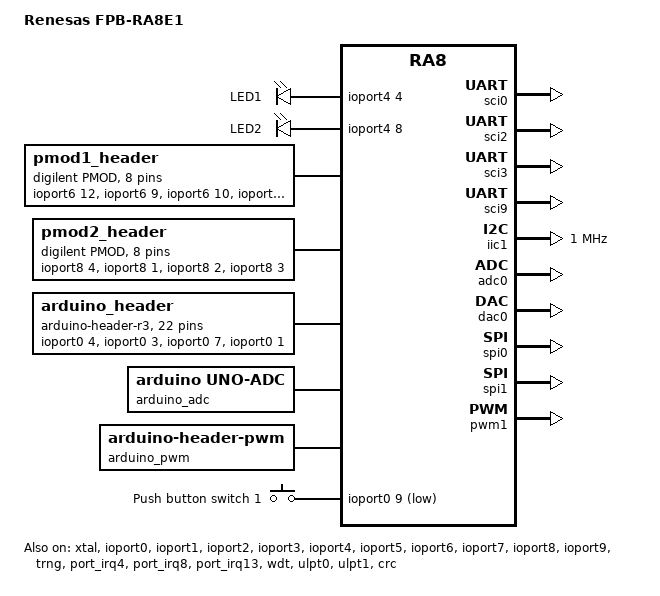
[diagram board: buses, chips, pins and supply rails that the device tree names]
/*
 * Copyright (c) 2026 Renesas Electronics Corporation
 * SPDX-License-Identifier: Apache-2.0
 */

/dts-v1/;

#include <renesas/ra/ra8/r7fa8e1afdcfb.dtsi>
#include <zephyr/dt-bindings/gpio/arduino-header-r3.h>
#include <zephyr/dt-bindings/gpio/gpio.h>
#include <zephyr/dt-bindings/flash_controller/xspi.h>
#include <zephyr/dt-bindings/adc/adc.h>
#include <zephyr/dt-bindings/input/input-event-codes.h>
#include <zephyr/dt-bindings/gpio/dvp-20pin-connector.h>
#include <zephyr/dt-bindings/pwm/pwm.h>
#include "fpb_ra8e1-pinctrl.dtsi"

/ {
	model = "Renesas FPB-RA8E1";
	compatible = "renesas,ra8e1", "renesas,ra8";

	chosen {
		zephyr,sram = &sram0;
		zephyr,flash-controller = &flash0;
		zephyr,flash = &flash0;
		zephyr,console = &uart9;
		zephyr,shell-uart = &uart9;
		zephyr,entropy = &trng;
		zephyr,crc = &crc;
	};

	leds {
		compatible = "gpio-leds";

		led1: led1 {
			gpios = <&ioport4 4 GPIO_ACTIVE_HIGH>;
			label = "LED1";
		};

		led2: led2 {
			gpios = <&ioport4 8 GPIO_ACTIVE_HIGH>;
			label = "LED2";
		};
	};

	pmod1_header: pmod-connector-1 {
		compatible = "digilent,pmod";
		#gpio-cells = <2>;
		gpio-map-mask = <0xffffffff 0xffffffc0>;
		gpio-map-pass-thru = <0 0x3f>;
		gpio-map = <0 0 &ioport6 12 0>,	/* IO1 */
			   <1 0 &ioport6 9 0>,	/* IO2 */
			   <2 0 &ioport6 10 0>,	/* IO3 */
			   <3 0 &ioport6 11 0>,	/* IO4 */
			   <4 0 &ioport0 6 0>,	/* IO5 */
			   <5 0 &ioport6 4 0>,	/* IO6 */
			   <6 0 &ioport6 5 0>,	/* IO7 */
			   <7 0 &ioport6 14 0>;	/* IO8 */
	};

	pmod2_header: pmod-connector-2 {
		compatible = "digilent,pmod";
		#gpio-cells = <2>;
		gpio-map-mask = <0xffffffff 0xffffffc0>;
		gpio-map-pass-thru = <0 0x3f>;
		gpio-map = <0 0 &ioport8 4 0>,	/* IO1 */
			   <1 0 &ioport8 1 0>,	/* IO2 */
			   <2 0 &ioport8 2 0>,	/* IO3 */
			   <3 0 &ioport8 3 0>,	/* IO4 */
			   <4 0 &ioport0 10 0>,	/* IO5 */
			   <5 0 &ioport1 6 0>,	/* IO6 */
			   <6 0 &ioport1 7 0>,	/* IO7 */
			   <7 0 &ioport8 9 0>;	/* IO8 */
	};

	arduino_header: connector {
		compatible = "arduino-header-r3";
		#gpio-cells = <2>;
		gpio-map-mask = <0xffffffff 0xffffffc0>;
		gpio-map-pass-thru = <0 0x3f>;
		gpio-map = <ARDUINO_HEADER_R3_A0 0 &ioport0 4 0>,
			   <ARDUINO_HEADER_R3_A1 0 &ioport0 3 0>,
			   <ARDUINO_HEADER_R3_A2 0 &ioport0 7 0>,
			   <ARDUINO_HEADER_R3_A3 0 &ioport0 1 0>,
			   <ARDUINO_HEADER_R3_A4 0 &ioport0 14 0>,
			   <ARDUINO_HEADER_R3_A5 0 &ioport1 15 0>,
			   <ARDUINO_HEADER_R3_D0 0 &ioport3 9 0>,
			   <ARDUINO_HEADER_R3_D1 0 &ioport3 10 0>,
			   <ARDUINO_HEADER_R3_D2 0 &ioport3 0 0>,
			   <ARDUINO_HEADER_R3_D3 0 &ioport4 5 0>,
			   <ARDUINO_HEADER_R3_D4 0 &ioport9 5 0>,
			   <ARDUINO_HEADER_R3_D5 0 &ioport1 14 0>,
			   <ARDUINO_HEADER_R3_D6 0 &ioport1 13 0>,
			   <ARDUINO_HEADER_R3_D7 0 &ioport3 2 0>,
			   <ARDUINO_HEADER_R3_D8 0 &ioport3 3 0>,
			   <ARDUINO_HEADER_R3_D9 0 &ioport1 12 0>,
			   <ARDUINO_HEADER_R3_D10 0 &ioport2 4 0>,
			   <ARDUINO_HEADER_R3_D11 0 &ioport2 2 0>,
			   <ARDUINO_HEADER_R3_D12 0 &ioport3 13 0>,
			   <ARDUINO_HEADER_R3_D13 0 &ioport2 3 0>,
			   <ARDUINO_HEADER_R3_D14 0 &ioport5 11 0>,
			   <ARDUINO_HEADER_R3_D15 0 &ioport5 12 0>;
	};

	arduino_adc: analog-connector {
		compatible = "arduino,uno-adc";
		#io-channel-cells = <1>;
		io-channel-map = <ARDUINO_HEADER_R3_A0 &adc1 0>,	/* P004 = AN000 */
				 <ARDUINO_HEADER_R3_A1 &adc0 0>,	/* P003 = AN104 */
				 <ARDUINO_HEADER_R3_A2 &adc0 1>,	/* P007 = AN004 */
				 <ARDUINO_HEADER_R3_A3 &adc0 2>,	/* P001 = AN101 */
				 <ARDUINO_HEADER_R3_A4 &adc0 21>,       /* P014 = AN007 */
				 <ARDUINO_HEADER_R3_A5 &adc0 22>;       /* P015 = AN105 */
	};

	arduino_pwm: connector-pwm {
		compatible = "arduino-header-pwm";
		#pwm-cells = <3>;
		pwm-map-mask = <0xffffffff 0x0 0x0>;
		pwm-map-pass-thru = <0x0 0xffffffff 0xffffffff>;
		pwm-map = <ARDUINO_HEADER_R3_D2 0 0 &pwm3 0 0 0>,       /* P300 = GPT1_A */
			  <ARDUINO_HEADER_R3_D3 0 0 &pwm0 0 0 0>,       /* P415 = GPT1_B */
			  <ARDUINO_HEADER_R3_D5 0 0 &pwm2 1 0 0>,       /* P114 = GPT2_B */
			  <ARDUINO_HEADER_R3_D6 0 0 &pwm2 0 0 0>,       /* P113 = GPT0_B */
			  <ARDUINO_HEADER_R3_D7 0 0 &pwm4 0 0 0>,       /* P302 = GPT0_A */
			  <ARDUINO_HEADER_R3_D9 0 0 &pwm3 1 0 0>,       /* P112 = GPT7_B */
			  <ARDUINO_HEADER_R3_D10 0 0 &pwm4 1 0 0>,      /* P204 = GPT3_B */
			  <ARDUINO_HEADER_R3_D11 0 0 &pwm5 1 0 0>,      /* P202 = GPT3_B */
			  <ARDUINO_HEADER_R3_D13 0 0 &pwm5 0 0 0>;      /* P203 = GPT3_A */
	};

	buttons {
		compatible = "gpio-keys";

		button0: s1 {
			gpios = <&ioport0 9 (GPIO_PULL_UP | GPIO_ACTIVE_LOW)>;
			label = "Push button switch 1";
			zephyr,code = <INPUT_KEY_0>;
		};
	};

	aliases {
		led0 = &led1;
		sw0 = &button0;
		watchdog0 = &wdt;
	};
};

&xtal {
	clock-frequency = <DT_FREQ_M(20)>;
	mosel = <0>;
	#clock-cells = <0>;
	status = "okay";
};

&subclk {
	status = "okay";
};

&pll {
	status = "okay";

	pllp {
		status = "okay";
	};

	pllq {
		status = "okay";
	};

	pllr {
		status = "okay";
	};
};

&sciclk {
	clocks = <&pllp>;
	div = <4>;
	status = "okay";
};

&ioport0 {
	status = "okay";
};

&ioport1 {
	status = "okay";
};

&ioport2 {
	status = "okay";
};

&ioport3 {
	status = "okay";
};

&ioport4 {
	status = "okay";
};

&ioport5 {
	status = "okay";
};

&ioport6 {
	status = "okay";
};

&ioport7 {
	status = "okay";
};

&ioport8 {
	status = "okay";
};

&ioport9 {
	status = "okay";
};

&sci0 {
	pinctrl-0 = <&sci0_default>;
	pinctrl-names = "default";
	status = "okay";

	uart0: uart {
		current-speed = <115200>;
	};
};

&sci1 {
	pinctrl-0 = <&sci1_default>;
	pinctrl-names = "default";

	i2c1: i2c {
		sda-output-delay = <300>;
		noise-filter-clock-select = <1>;
		bit-rate-modulation;
	};
};

&sci2 {
	pinctrl-0 = <&sci2_default>;
	pinctrl-names = "default";
	status = "okay";

	uart2: uart {
		current-speed = <115200>;
	};
};

&sci3 {
	pinctrl-0 = <&sci3_default>;
	pinctrl-names = "default";
	status = "okay";

	uart3: uart {
		current-speed = <115200>;
	};
};

&sci9 {
	pinctrl-0 = <&sci9_default>;
	pinctrl-names = "default";
	status = "okay";

	uart9: uart {
		current-speed = <115200>;
		status = "okay";
	};
};

&iic1 {
	#address-cells = <1>;
	#size-cells = <0>;
	clock-frequency = <DT_FREQ_M(1)>;
	pinctrl-0 = <&iic1_default>;
	pinctrl-names = "default";
};

&adc0 {
	status = "okay";
	pinctrl-0 = <&adc0_default>;
	pinctrl-names = "default";
	average-count = <4>;
};

&dac0 {
	pinctrl-0 = <&dac0_default>;
	pinctrl-names = "default";
	status = "okay";
};

&trng {
	status = "okay";
};

&spi0 {
	pinctrl-0 = <&spi0_default>;
	pinctrl-names = "default";
	status = "okay";
};

&spi1 {
	pinctrl-0 = <&spi1_default>;
	pinctrl-names = "default";
	status = "okay";
};

&pwm1 {
	pinctrl-0 = <&pwm1_default>;
	pinctrl-names = "default";
	interrupts = <40 1>, <41 1>;
	interrupt-names = "gtioca", "overflow";
	status = "okay";
};

&flash1 {
	partitions {
		compatible = "fixed-partitions";
		#address-cells = <1>;
		#size-cells = <1>;

		storage_partition: partition@0 {
			label = "storage";
			reg = <0x0 DT_SIZE_K(12)>;
		};
	};
};

&port_irq4 {
	interrupts = <87 12>;
	status = "okay";
};

&port_irq8 {
	interrupts = <88 12>;
	status = "okay";
};

&port_irq13 {
	interrupts = <89 12>;
	status = "okay";
};

&wdt {
	status = "okay";
};

&ulpt0 {
	status = "okay";

	timer {
		status = "okay";
	};
};

&ulpt1 {
	status = "okay";

	timer {
		status = "okay";
	};
};

&crc {
	status = "okay";
};

pmod1_serial: &uart0 {};

pmod2_serial: &uart2 {};

pmod_serial: &pmod1_serial {};

pmod_header: &pmod1_header {};

arduino_i2c: &iic1 {};

arduino_spi: &spi0 {};

arduino_serial: &uart3 {};
